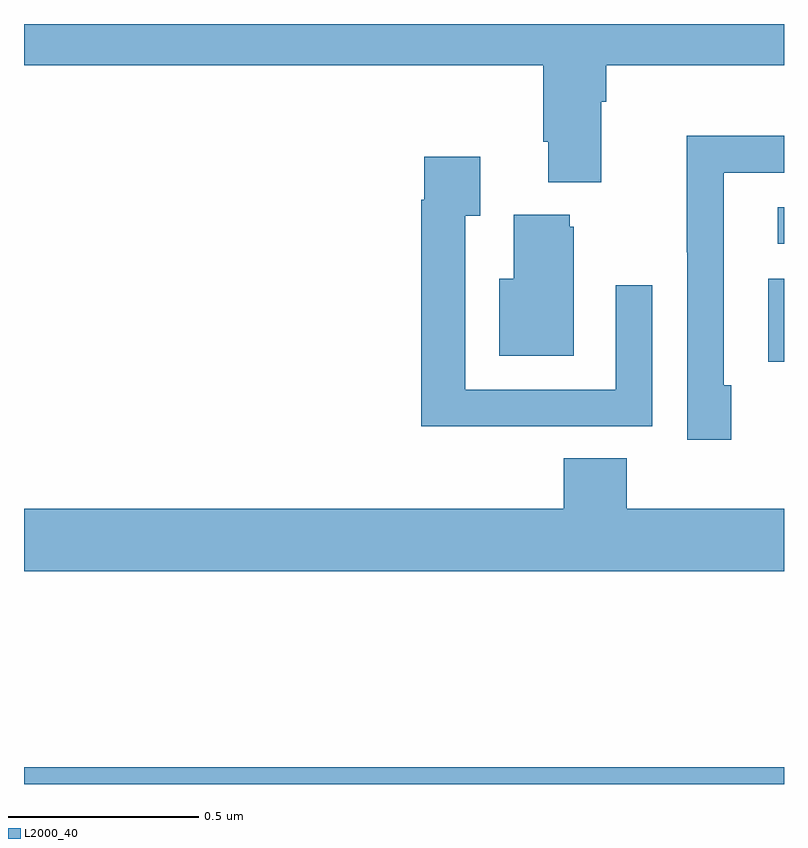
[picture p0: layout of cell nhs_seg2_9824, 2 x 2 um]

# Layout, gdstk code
import gdstk
lib = gdstk.Library(unit=1e-6, precision=1e-09)
def R(c, l, rs):  # rectangles x0, y0, x1, y1
    for r in rs: c.add(gdstk.rectangle(r[:2], r[2:], *l))
def P(c, l, *ps):  # polygons
    for p in ps: c.add(gdstk.Polygon(p, *l))
L2000_40 = (2000, 40)

nhs_seg2_9824 = lib.new_cell('nhs_seg2_9824')
R(nhs_seg2_9824, L2000_40, [(234,589.8,236,589.844), (235.958,590.911,236,591.13), (235.983,591.222,236,591.318)])
P(nhs_seg2_9824, L2000_40, [(235.519,591.596),(235.532,591.596),(235.532,591.692),(236,591.692),(236,591.8),(234,591.8),(234,591.692),(235.367,591.692),(235.367,591.49),(235.379,591.49),(235.379,591.383),(235.519,591.383)],
  [(235.861,590.85),(235.842,590.85),(235.842,591.408),(236,591.408),(236,591.506),(235.744,591.506),(235.744,591.199),(235.746,591.199),(235.746,590.706),(235.861,590.706)],
  [(235.337,590.742),(235.653,590.742),(235.653,591.112),(235.557,591.112),(235.557,590.838),(235.161,590.838),(235.161,591.295),(235.201,591.295),(235.201,591.451),(235.053,591.451),(235.053,591.338),(235.045,591.338),(235.045,590.741),(235.337,590.741)],
  [(235.447,591.267),(235.436,591.267),(235.436,591.298),(235.289,591.298),(235.289,591.13),(235.25,591.13),(235.25,590.927),(235.447,590.927)],
  [(236,590.524),(235.586,590.524),(235.586,590.657),(235.421,590.657),(235.421,590.524),(234,590.524),(234,590.36),(236,590.36)])

lib.write_gds('nhs_seg2_9824.gds')
